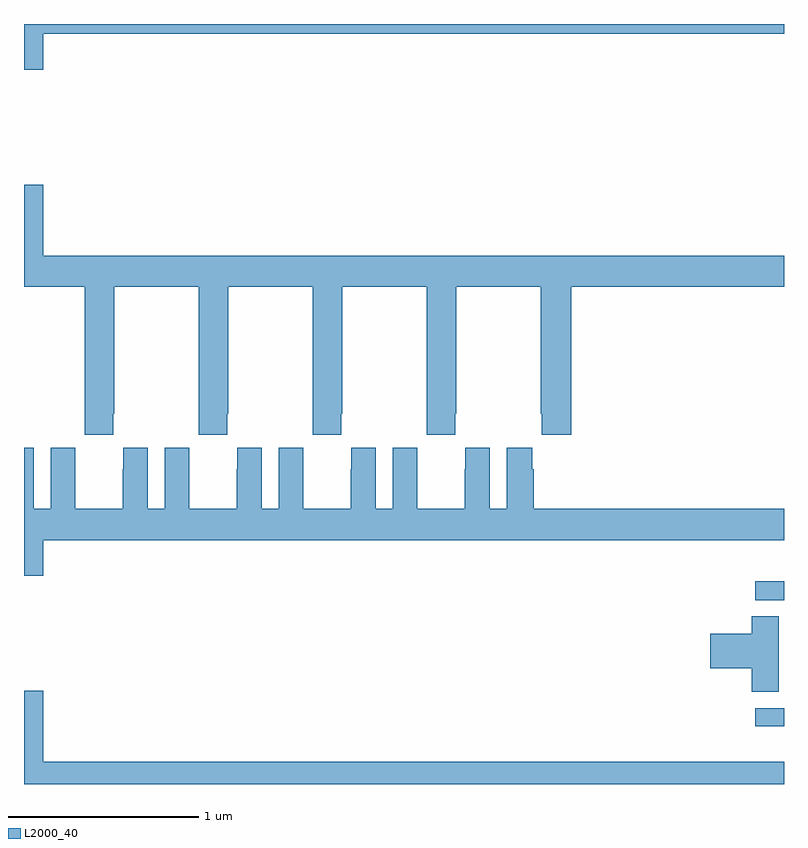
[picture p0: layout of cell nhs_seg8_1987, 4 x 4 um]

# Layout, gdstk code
import gdstk
lib = gdstk.Library(unit=1e-6, precision=1e-09)
def R(c, l, rs):  # rectangles x0, y0, x1, y1
    for r in rs: c.add(gdstk.rectangle(r[:2], r[2:], *l))
def P(c, l, *ps):  # polygons
    for p in ps: c.add(gdstk.Polygon(p, *l))
L2000_40 = (2000, 40)

nhs_seg8_1987 = lib.new_cell('nhs_seg8_1987')
R(nhs_seg8_1987, L2000_40, [(240.849,1098.204,241,1098.3), (240.849,1098.867,241,1098.966)])
P(nhs_seg8_1987, L2000_40, [(237.1,1101.848),(241,1101.848),(241,1101.9),(237,1101.9),(237,1101.66),(237.1,1101.66)],
  [(237.1,1101.055),(237,1101.055),(237,1100.516),(237.319,1100.516),(237.319,1099.849),(237.321,1099.849),(237.321,1099.737),(237.471,1099.737),(237.471,1099.849),(237.474,1099.849),(237.474,1100.516),(237.919,1100.516),(237.919,1099.849),(237.921,1099.849),(237.921,1099.737),(238.071,1099.737),(238.071,1099.849),(238.074,1099.849),(238.074,1100.516),(238.519,1100.516),(238.519,1099.849),(238.521,1099.849),(238.521,1099.737),(238.671,1099.737),(238.671,1099.849),(238.674,1099.849),(238.674,1100.516),(239.119,1100.516),(239.119,1099.849),(239.121,1099.849),(239.121,1099.737),(239.271,1099.737),(239.271,1099.849),(239.274,1099.849),(239.274,1100.516),(239.719,1100.516),(239.719,1099.849),(239.725,1099.849),(239.725,1099.737),(239.879,1099.737),(239.879,1100.516),(241,1100.516),(241,1100.68),(237.1,1100.68)],
  [(241,1099.348),(239.684,1099.348),(239.684,1099.556),(239.674,1099.556),(239.674,1099.669),(239.54,1099.669),(239.54,1099.348),(239.452,1099.348),(239.452,1099.669),(239.322,1099.669),(239.322,1099.556),(239.321,1099.556),(239.321,1099.348),(239.071,1099.348),(239.071,1099.556),(239.07,1099.556),(239.07,1099.669),(238.94,1099.669),(238.94,1099.348),(238.852,1099.348),(238.852,1099.669),(238.722,1099.669),(238.722,1099.556),(238.721,1099.556),(238.721,1099.348),(238.471,1099.348),(238.471,1099.556),(238.47,1099.556),(238.47,1099.669),(238.34,1099.669),(238.34,1099.348),(238.252,1099.348),(238.252,1099.669),(238.122,1099.669),(238.122,1099.556),(238.121,1099.556),(238.121,1099.348),(237.871,1099.348),(237.871,1099.556),(237.87,1099.556),(237.87,1099.669),(237.74,1099.669),(237.74,1099.348),(237.652,1099.348),(237.652,1099.669),(237.522,1099.669),(237.522,1099.556),(237.521,1099.556),(237.521,1099.348),(237.271,1099.348),(237.271,1099.556),(237.27,1099.556),(237.27,1099.669),(237.14,1099.669),(237.14,1099.348),(237.052,1099.348),(237.052,1099.669),(237,1099.669),(237,1098.996),(237.1,1098.996),(237.1,1099.184),(241,1099.184)],
  [(240.973,1098.782),(240.83,1098.782),(240.83,1098.692),(240.612,1098.692),(240.612,1098.509),(240.83,1098.509),(240.83,1098.385),(240.973,1098.385)],
  [(241,1098.016),(237.1,1098.016),(237.1,1098.391),(237,1098.391),(237,1097.9),(241,1097.9)])

lib.write_gds('nhs_seg8_1987.gds')
